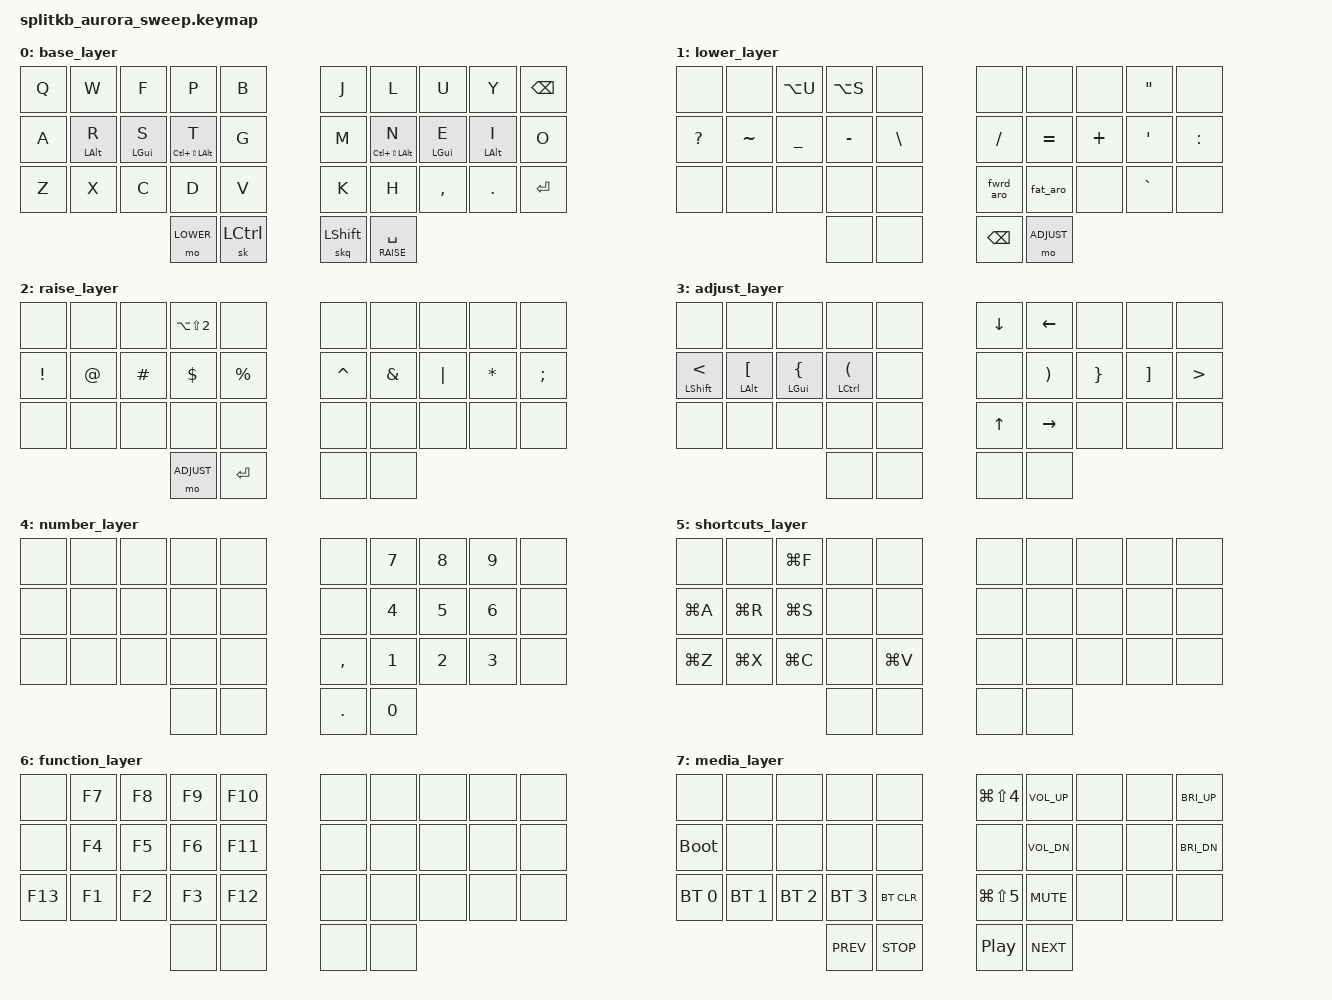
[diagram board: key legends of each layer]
// Copyright (c) 2022 The ZMK Contributors
// SPDX-License-Identifier: MIT
#include <behaviors.dtsi>
#include <dt-bindings/zmk/keys.h>
#include <dt-bindings/zmk/bt.h>

// Layers
#define BASE        0
#define LOWER       1
#define RAISE       2
#define ADJUST      3
#define NUM         4
#define SHORTCUTS   5
#define FUNC        6
#define MEDIA       7

// Helper Constants
#define ALT_R &hml LALT R
#define GUI_S &hml LGUI S
#define MEH_T &hl LC(LS(LALT)) T
#define MEH_N &hl LC(LS(LALT)) N
#define GUI_E &hmr LGUI E
#define ALT_I &hmr LALT I
// #define MEH(kc) &hl LC(LS(LALT)) kc
#define S_LT &hml LSHFT LT
#define A_LBKT &hml LALT LBKT
#define G_LBRC &hml LGUI LBRC
#define C_LPAR &hml LCTRL LPAR
#define SCREEN &kp LG(LS(N4))
#define RECORD &kp LG(LS(N5))
#define EURO &kp LA(LS(N2))
#define BT_0 &bt BT_SEL 0
#define BT_1 &bt BT_SEL 1
#define BT_2 &bt BT_SEL 2
#define BT_3 &bt BT_SEL 3

/ {
    macros {
        fwrd_aro: fwrd_aro {
            label = "ZM_small_arrow";
            compatible = "zmk,behavior-macro";
            #binding-cells = <0>;
            bindings
                = <&macro_tap &kp MINUS>
                , <&macro_tap &kp GT>
                ;
        };
        fat_aro: fat_aro {
            label = "ZM_fat_arrow";
            compatible = "zmk,behavior-macro";
            #binding-cells = <0>;
            bindings
                = <&macro_tap &kp EQUAL>
                , <&macro_tap &kp GT>
                ;
        };
    };
    combos {
        compatible = "zmk,combos";
        combo_media {
            timeout-ms = <50>;
            // w + f + p
            key-positions = <1 2 3>;
            layers = <BASE>;
            bindings = <&mo MEDIA>;
        };
        combo_esc {
            timeout-ms = <50>;
            // w + f
            key-positions = <1 2>;
            layers = <BASE>;
            bindings = <&kp ESC>;
        };
        combo_num {
            timeout-ms = <50>;
            // r + s
            key-positions = <11 12>;
            layers = <BASE>;
            bindings = <&mo NUM>;
        };
        combo_tab {
            timeout-ms = <50>;
            // u + y
            key-positions = <21 22>;
            layers = <BASE>;
            bindings = <&kp TAB>;
        };
        combo_func {
            timeout-ms = <50>;
            // l + u + y
            key-positions = <6 7 8>;
            layers = <BASE>;
            bindings = <&mo FUNC>;
        };
        combo_del {
            timeout-ms = <50>;
            // u + y
            key-positions = <7 8>;
            layers = <BASE>;
            bindings = <&kp DELETE>;
        };
        combo_shortcuts {
            timeout-ms = <50>;
            // , + .
            key-positions = <27 28>;
            layers = <BASE>;
            bindings = <&sl SHORTCUTS>;
        };
    };
    behaviors {
        hl: hold_layer {
            compatible = "zmk,behavior-hold-tap";
            label = "HOLD_LAYER";
            #binding-cells = <2>;
            tapping-term-ms = <300>;
            quick_tap_ms = <0>;
            flavor = "tap-preferred";
            bindings = <&kp>, <&kp>;
        };
        skq: sticky_key_quick_release {
            compatible = "zmk,behavior-sticky-key";
            label = "STICKY_KEY_QUICK_RELEASE";
            #binding-cells = <1>;
            bindings = <&kp>;
            release-after-ms = <1000>;
            quick-release;
        };
        hml: home_row_mod_left {
            compatible = "zmk,behavior-hold-tap";
            label = "HOME_ROW_MOD_LEFT";
            #binding-cells = <2>;
            flavor = "balanced";
            require-prior-idle-ms = <150>;
            tapping-term-ms = <300>;
            quick-tap-ms = <175>;
            bindings = <&kp>, <&kp>;
            hold-trigger-key-positions = <10 11 12 13>;
            hold-trigger-on-release;
        };
        hmr: home_row_mod_right {
            compatible = "zmk,behavior-hold-tap";
            label = "HOME_ROW_MOD_RIGHT";
            #binding-cells = <2>;
            flavor = "balanced";
            require-prior-idle-ms = <150>;
            tapping-term-ms = <300>;
            quick-tap-ms = <175>;
            bindings = <&kp>, <&kp>;
            hold-trigger-key-positions = <14 15 16 17>;
            hold-trigger-on-release;
        };
    };

    keymap {
        compatible = "zmk,keymap";
        base_layer {
            bindings = <
        //╭──────────┬──────────┬──────────┬──────────┬──────────╮╭──────────┬──────────┬──────────┬──────────┬──────────╮
        //│  Q       │  W       │  F       │  P       │  B       ││  J       │  L       │  U       │  Y       │ BACKSPACE│
            &kp Q      &kp W      &kp F      &kp P      &kp B       &kp J      &kp L      &kp U      &kp Y      &kp BSPC
        //├──────────┼──────────┼──────────┼──────────┼──────────┤├──────────┼──────────┼──────────┼──────────┼──────────┤
        //│  A       │  R       │  S       │  T       │  G       ││  M       │  N       │  E       │  I       │  O       │
           &kp A       ALT_R      GUI_S      MEH_T      &kp G       &kp M      MEH_N      GUI_E      ALT_I      &kp O
        //├──────────┼──────────┼──────────┼──────────┼──────────┤├──────────┼──────────┼──────────┼──────────┼──────────┤
        //│  Z       │  X       │  C       │  D       │  V       ││  K       │  H       │ ,        │  .       │  ENTER   │
            &kp Z      &kp X      &kp C      &kp D      &kp V       &kp K      &kp H      &kp COMMA  &kp DOT   &kp ENTER
        //╰──────────┴──────────┴──────────┼──────────┼──────────┤├──────────┼──────────┼──────────┴──────────┴──────────╯
        //                                 │ LOWER    │ OSM CTLR    OSM SHIFT│SPC(RAISE)│
                                            &mo LOWER  &sk LCTRL  &skq LSHIFT  &lt RAISE SPACE
        //                                 ╰──────────┴──────────╯╰──────────┴──────────╯
            >;
        };

        lower_layer {
            bindings = <
        //╭──────────┬──────────┬──────────┬──────────┬──────────╮╭──────────┬──────────┬──────────┬──────────┬──────────╮
        //│          │          │  Umlaut  │  ß       │          ││          │          │          │  "       │          │
            &none      &none      &kp LA(U)  &kp LA(S)   &none      &none      &none      &none      &kp DQT    &none
        //├──────────┼──────────┼──────────┼──────────┼──────────┤├──────────┼──────────┼──────────┼──────────┼──────────┤
        //│  ?       │  ~       │  _       │  -       │  \       ││  /       │  =       │  +       │  '       │  :       │
            &kp QMARK  &kp TILDE  &kp UNDER  &kp MINUS  &kp BSLH    &kp FSLH   &kp EQUAL  &kp PLUS   &kp SQT    &kp COLON
        //├──────────┼──────────┼──────────┼──────────┼──────────┤├──────────┼──────────┼──────────┼──────────┼──────────┤
        //│          │          │          │          │          ││  ->      │  =>      │          │  `       │          │
            &none      &none      &none      &none      &none       &fwrd_aro  &fat_aro   &none      &kp GRAVE  &none
        //╰──────────┴──────────┴──────────┼──────────┼──────────┤├──────────┼──────────┼──────────┴──────────┴──────────╯
        //                                 │    XXXXXXXXXXXX     ││BACKSPACE │  ADJUST  │
                                             &none      &none       &kp BSPC   &mo ADJUST
        //                                 ╰──────────┴──────────╯╰──────────┴──────────╯
            >;
        };

        raise_layer {
            bindings = <
        //╭──────────┬──────────┬──────────┬──────────┬──────────╮╭──────────┬──────────┬───────────┬─────────┬──────────╮
        //│          │          │          │  €       │          ││          │          │           │         │          │
            &none      &none      &none      EURO       &none       &none      &none      &none       &none     &none
        //├──────────┼──────────┼──────────┼──────────┼──────────┤├──────────┼──────────┼───────────┼─────────┼──────────┤
        //│  !       │  @       │  #       │  $       │  %       ││  ^       │  &       │  |        │  *      │  ;       │
            &kp EXCL   &kp AT     &kp HASH   &kp DLLR   &kp PRCNT   &kp CARET  &kp AMPS   &kp PIPE    &kp STAR  &kp SEMI
        //├──────────┼──────────┼──────────┼──────────┼──────────┤├──────────┼──────────┼───────────┼─────────┼──────────┤
        //│          │          │          │          │          ││          │          │           │         │          │
            &none      &none      &none      &none      &none       &none      &none      &none       &none     &none
        //╰──────────┴──────────┴──────────┼──────────┼──────────┤├──────────┼──────────┼───────────┴─────────┴──────────╯
        //                                 │ ADJUST   │  ENTER   ││    XXXXXXXXXXXX     │
                                            &mo ADJUST  &kp ENTER   &none      &none
        //                                 ╰──────────┴──────────╯╰──────────┴──────────╯
            >;
        };

        adjust_layer {
            bindings = <
        //╭──────────┬──────────┬──────────┬──────────┬──────────╮╭──────────┬──────────┬──────────┬──────────┬──────────╮
        //│          │          │          │          │          ││  DOWN    │  LEFT    │          │          │          │
            &none      &none      &none      &none      &none       &kp DOWN   &kp LEFT   &none      &none      &none
        //├──────────┼──────────┼──────────┼──────────┼──────────┤├──────────┼──────────┼──────────┼──────────┼──────────┤
        //│ <        │  [       │  {       │  (       │          ││          │  )       │  }       │  ]       │  >       │
            S_LT       A_LBKT     G_LBRC     C_LPAR     &none       &none      &kp RPAR   &kp RBRC   &kp RBKT   &kp GT
        //├──────────┼──────────┼──────────┼──────────┼──────────┤├──────────┼──────────┼──────────┼──────────┼──────────┤
        //│          │          │          │          │          ││  UP      │  RIGHT   │          │          │          │
            &none      &none      &none      &none      &none       &kp UP     &kp RIGHT  &none      &none      &none
        //╰──────────┴──────────┴──────────┼──────────┼──────────┤├──────────┼──────────┼──────────┴──────────┴──────────╯
        //                                 │    XXXXXXXXXXXX     ││    XXXXXXXXXXXX     │
                                             &none      &none       &none      &none 
        //                                 ╰──────────┴──────────╯╰──────────┴──────────╯
            >;
        };

        number_layer {
            bindings = < 
        //╭──────────┬──────────┬──────────┬──────────┬──────────╮╭──────────┬──────────┬──────────┬──────────┬──────────╮
        //│          │          │          │          │          ││          │  7       │  8       │  9       │          │
            &none      &none      &none      &none      &none       &none      &kp N7     &kp N8     &kp N9     &none 
        //├──────────┼──────────┼──────────┼──────────┼──────────┤├──────────┼──────────┼──────────┼──────────┼──────────┤
        //│          │      XXXXXXXXX      │          │          ││          │  4       │  5       │  6       │          │
            &none      &none      &none      &none      &none       &none      &kp N4     &kp N5     &kp N6     &none 
        //├──────────┼──────────┼──────────┼──────────┼──────────┤├──────────┼──────────┼──────────┼──────────┼──────────┤
        //│          │          │          │          │          ││  ,       │  1       │  2       │  3       │          │
            &none      &none      &none      &none      &none       &kp COMMA  &kp N1     &kp N2     &kp N3     &none
        //╰──────────┴──────────┴──────────┼──────────┼──────────┤├──────────┼──────────┼──────────┴──────────┴──────────╯
        //                                 │          │          ││  .       │  0       │
                                             &none      &none       &kp DOT    &kp N0
        //                                 ╰──────────┴──────────╯╰──────────┴──────────╯
            >;
        };

        shortcuts_layer {
            bindings = < 
        //╭──────────┬──────────┬──────────┬──────────┬──────────╮╭──────────┬──────────┬──────────┬──────────┬──────────╮
        //│          │          │  SEARCH  │          │          ││          │          │          │          │          │
            &none      &none      &kp LG(F)  &none      &none       &none      &none      &none      &none      &none 
        //├──────────┼──────────┼──────────┼──────────┼──────────┤├──────────┼──────────┼──────────┼──────────┼──────────┤
        //│SELECT ALL│  RELOAD  │  SAVE    │          │          ││          │          │          │          │          │
            &kp LG(A)  &kp LG(R)  &kp LG(S)  &none      &none       &none      &none      &none      &none      &none 
        //├──────────┼──────────┼──────────┼──────────┼──────────┤├──────────┼──────────┼──────────┼──────────┼──────────┤
        //│  UNDO    │  CUT     │  COPY    │          │  PASTE   ││          │          │       XXXXXXX       │          │
            &kp LG(Z)  &kp LG(X)  &kp LG(C)  &none      &kp LG(V)    &none      &none      &none      &none      &none
        //╰──────────┴──────────┴──────────┼──────────┼──────────┤├──────────┼──────────┼──────────┴──────────┴──────────╯
        //                                 │          │          ││          │          │
                                             &none      &none       &none      &none
        //                                 ╰──────────┴──────────╯╰──────────┴──────────╯
            >;
        };

        function_layer {
            bindings = < 
        //╭──────────┬──────────┬──────────┬──────────┬──────────╮╭──────────┬──────────┬──────────┬──────────┬──────────╮
        //│          │  F7      │  F8      │  F9      │  F10     ││          │      XXXXXXXXXXXXXXXXXX        │          │ 
            &none      &kp F7     &kp F8     &kp F9     &kp F10     &none      &none      &none      &none      &none 
        //├──────────┼──────────┼──────────┼──────────┼──────────┤├──────────┼──────────┼──────────┼──────────┼──────────┤
        //│          │  F4      │  F5      │  F6      │  F11     ││          │          │          │          │          │ 
            &none      &kp F4     &kp F5     &kp F6     &kp F11     &none      &none      &none      &none      &none 
        //├──────────┼──────────┼──────────┼──────────┼──────────┤├──────────┼──────────┼──────────┼──────────┼──────────┤
        //│          │  F1      │  F2      │  F3      │  F12     ││          │          │          │          │          │ 
            &kp F13    &kp F1     &kp F2     &kp F3     &kp F12     &none      &none      &none      &none      &none 
        //╰──────────┴──────────┴──────────┼──────────┼──────────┤├──────────┼──────────┼──────────┴──────────┴──────────╯
        //                                 │          │          ││          │          │
                                             &none      &none       &none      &none
        //                                 ╰──────────┴──────────╯╰──────────┴──────────╯
            >;
        };

        media_layer {
            bindings = <
        //╭──────────┬──────────┬──────────┬──────────┬──────────╮╭──────────┬──────────┬──────────┬──────────┬──────────╮
        //│          │       XXXXXXXXXXXXXXXXXX       │          ││  Screen  │  Louder  │          │          │ Brighter │
            &none      &none      &none      &none      &none       SCREEN   &kp C_VOL_UP &none      &none    &kp C_BRI_UP
        //├──────────┼──────────┼──────────┼──────────┼──────────┤├──────────┼──────────┼──────────┼──────────┼──────────┤
        //│BOOTLOADER│          │          │          │          ││          │  Quieter │          │          │ Dimmer   │
           &bootloader  &none      &none      &none      &none       &none    &kp C_VOL_DN &none      &none    &kp C_BRI_DN
        //├──────────┼──────────┼──────────┼──────────┼──────────┤├──────────┼──────────┼──────────┼──────────┼──────────┤
        //│PROFILE 0 │PROFILE 1 │PROFILE 2 │PROFILE 3 │ CLEAR BT ││  Record  │  Mute    │          │          │          │
            BT_0       BT_1       BT_2       BT_3      &bt BT_CLR   RECORD    &kp C_MUTE  &none      &none      &none
        //╰──────────┴──────────┴──────────┼──────────┼──────────┤├──────────┼──────────┼──────────┴──────────┴──────────╯
        //                                 │ Previous │  Stop    ││  Play    │  Next    │
                                            &kp C_PREV &kp C_STOP  &kp C_PP  &kp C_NEXT
        //                                 ╰──────────┴──────────╯╰──────────┴──────────╯
            >;
        };
    };
};
